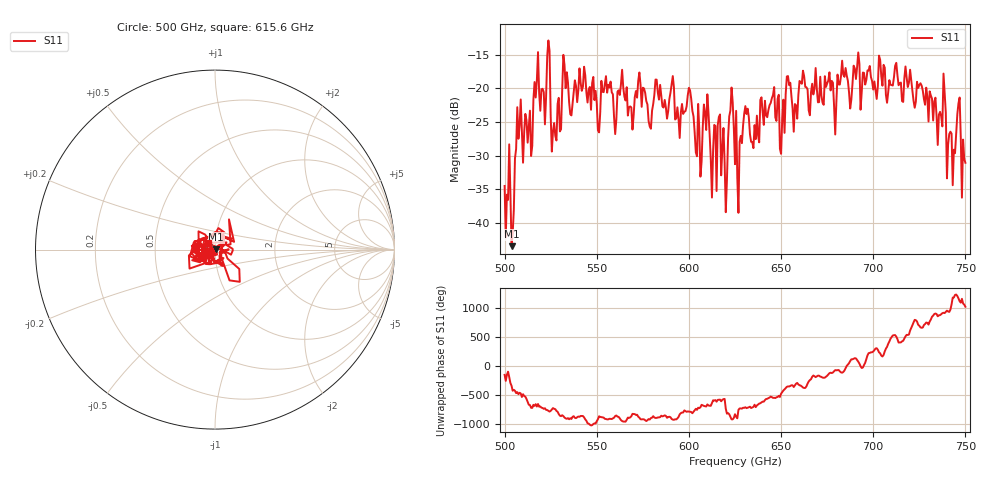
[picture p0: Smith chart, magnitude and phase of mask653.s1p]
!Created with skrf (http://scikit-rf.org).
# GHz S MA R 50.0
!freq magS11 angS11
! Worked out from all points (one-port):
!   401 points, 500 GHz to 750 GHz, reference 50 ohm
!   lowest |S11| = -43.5 dB at 503.8 GHz (marker M1), VSWR 1.01, Z = 50.6 + j0.24 ohm
!   |S11| at or under -10 dB: start of sweep to end of sweep
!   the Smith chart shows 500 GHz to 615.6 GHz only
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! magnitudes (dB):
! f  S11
! 500 GHz  -34.5
! 503.8 GHz  -43.5
! 507.5 GHz  -27.5
! 513.8 GHz  -23.3
! 516.9 GHz  -21.4
! 523.8 GHz  -12.9
! 526.9 GHz  -25.2
! 531.2 GHz  -20.2
! 562.5 GHz  -21.0
! 578.8 GHz  -25.7
! 590.6 GHz  -19.4
! 593.8 GHz  -22.8
! 600.6 GHz  -20.3
! 605.6 GHz  -26.1
! 609.4 GHz  -26.2
! 619.4 GHz  -31.0
! 622.5 GHz  -23.3
! 625 GHz  -31.3
! 627.5 GHz  -28.0
! 631.2 GHz  -23.8
! 635 GHz  -28.9
! 656.2 GHz  -23.0
! 687.5 GHz  -23.0
! 718.8 GHz  -19.8
! 738.1 GHz  -17.8
! 743.1 GHz  -34.4
! 746.2 GHz  -22.2
! 750 GHz  -31.1
